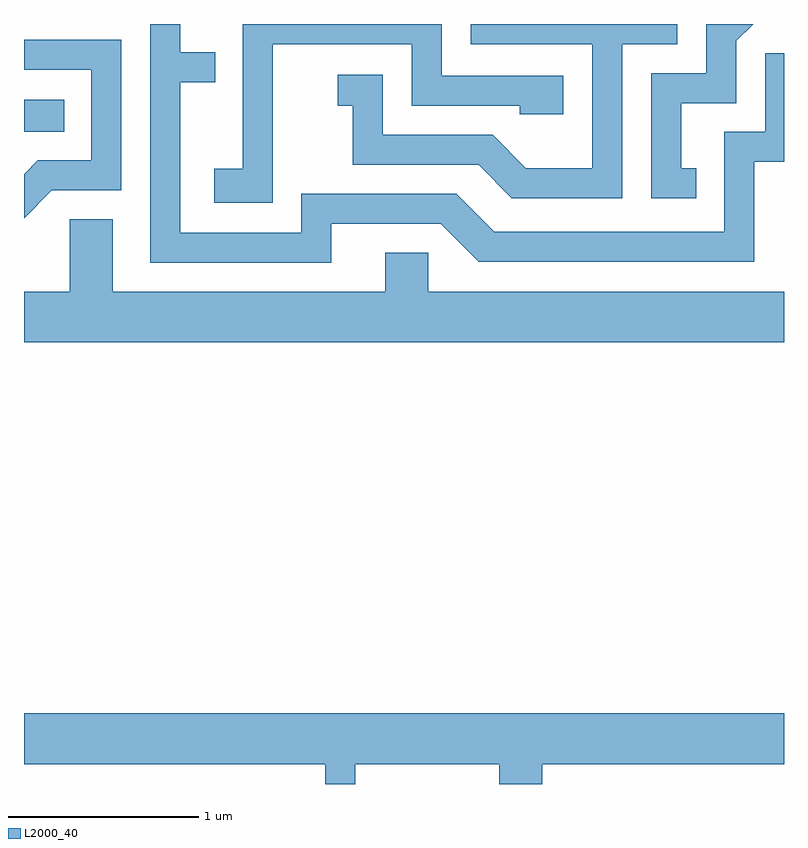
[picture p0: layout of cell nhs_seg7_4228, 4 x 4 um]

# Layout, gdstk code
import gdstk
lib = gdstk.Library(unit=1e-6, precision=1e-09)
def R(c, l, rs):  # rectangles x0, y0, x1, y1
    for r in rs: c.add(gdstk.rectangle(r[:2], r[2:], *l))
def P(c, l, *ps):  # polygons
    for p in ps: c.add(gdstk.Polygon(p, *l))
L2000_40 = (2000, 40)

nhs_seg7_4228 = lib.new_cell('nhs_seg7_4228')
R(nhs_seg7_4228, L2000_40, [(315.611,1677.686,315.823,1677.854)])
P(nhs_seg7_4228, L2000_40, [(319.148,1677.494),(319.069,1677.494),(319.069,1677.836),(319.359,1677.836),(319.359,1678.164),(319.448,1678.252),(319.201,1678.252),(319.201,1677.994),(318.911,1677.994),(318.911,1677.336),(319.148,1677.336)],
  [(316.919,1678.146),(317.651,1678.146),(317.651,1677.821),(318.221,1677.821),(318.221,1677.776),(318.449,1677.776),(318.449,1677.979),(317.809,1677.979),(317.809,1678.252),(316.761,1678.252),(316.761,1677.489),(316.611,1677.489),(316.611,1677.311),(316.919,1677.311)],
  [(318.759,1678.146),(319.049,1678.146),(319.049,1678.252),(317.961,1678.252),(317.961,1678.146),(318.601,1678.146),(318.601,1677.494),(318.252,1677.494),(318.077,1677.669),(317.499,1677.669),(317.499,1677.984),(317.263,1677.984),(317.263,1677.821),(317.341,1677.821),(317.341,1677.511),(318.004,1677.511),(318.179,1677.336),(318.759,1677.336)],
  [(317.229,1677.201),(317.804,1677.201),(318.004,1677.001),(319.454,1677.001),(319.454,1677.526),(319.611,1677.526),(319.611,1678.099),(319.511,1678.099),(319.511,1677.684),(319.296,1677.684),(319.296,1677.159),(318.087,1677.159),(317.887,1677.359),(317.071,1677.359),(317.071,1677.154),(316.434,1677.154),(316.434,1677.946),(316.618,1677.946),(316.618,1678.104),(316.434,1678.104),(316.434,1678.252),(316.276,1678.252),(316.276,1676.996),(317.229,1676.996)],
  [(315.757,1677.376),(316.124,1677.376),(316.124,1678.169),(315.611,1678.169),(315.611,1678.011),(315.966,1678.011),(315.966,1677.534),(315.684,1677.534),(315.611,1677.461),(315.611,1677.23)],
  [(319.611,1676.844),(317.739,1676.844),(317.739,1677.049),(317.511,1677.049),(317.511,1676.844),(316.079,1676.844),(316.079,1677.224),(315.851,1677.224),(315.851,1676.844),(315.611,1676.844),(315.611,1676.576),(319.611,1676.576)],
  [(317.354,1674.356),(318.111,1674.356),(318.111,1674.252),(318.339,1674.252),(318.339,1674.356),(319.611,1674.356),(319.611,1674.624),(315.611,1674.624),(315.611,1674.356),(317.196,1674.356),(317.196,1674.252),(317.354,1674.252)])

lib.write_gds('nhs_seg7_4228.gds')
